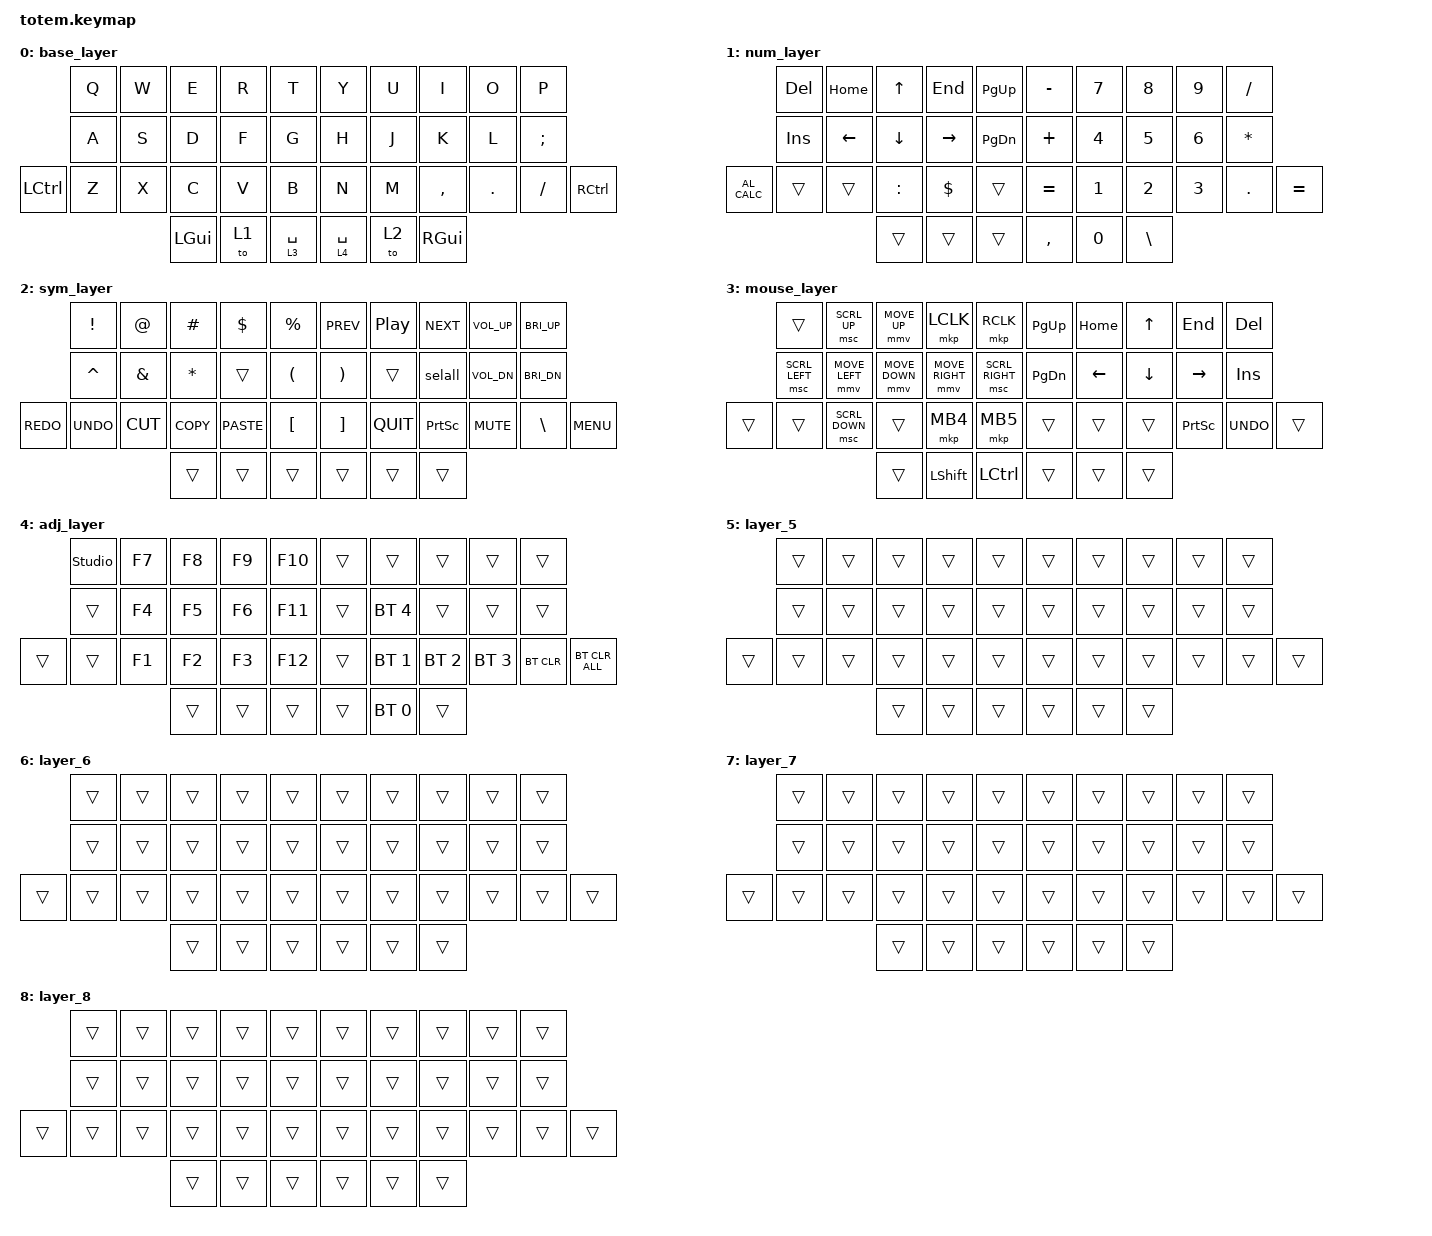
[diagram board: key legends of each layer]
#include <dt-bindings/zmk/mouse.h>
#include <behaviors.dtsi>
#include <dt-bindings/zmk/bt.h>
#include <dt-bindings/zmk/keys.h>
#include <dt-bindings/zmk/pointing.h>

#define BASE 0
#define CODE 1
#define NAV  2
#define MOD  3
#define ADJ  4

/ {
    behaviors {
        hml: homerow_mods_left {
            compatible = "zmk,behavior-hold-tap";
            #binding-cells = <2>;
            tapping-term-ms = <200>;
            quick-tap-ms = <175>;
            require-prior-idle-ms = <300>;
            flavor = "balanced";
            bindings = <&kp>, <&kp>;
        };

        hmr: homerow_mods_right {
            compatible = "zmk,behavior-hold-tap";
            #binding-cells = <2>;
            tapping-term-ms = <200>;
            quick-tap-ms = <175>;
            require-prior-idle-ms = <300>;
            flavor = "balanced";
            bindings = <&kp>, <&kp>;
        };

        td_bs_pipe: backslash_pipe {
            compatible = "zmk,behavior-hold-tap";
            #binding-cells = <2>;
            tapping-term-ms = <200>;
            flavor = "tap-preferred";
            bindings = <&kp>, <&kp>;
        };
    };

    combos {
        compatible = "zmk,combos";

        combo_esc {
            timeout-ms = <50>;
            key-positions = <0 1>;
            bindings = <&kp ESC>;
            layers = <0>;
        };

        LFTSHFT {
            bindings = <&kp LEFT_SHIFT>;
            key-positions = <20 10>;
        };

        RTSHFT {
            bindings = <&kp RIGHT_SHIFT>;
            key-positions = <31 19>;
        };

        etr {
            bindings = <&kp ENTER>;
            key-positions = <18 17 16>;
        };

        bksp {
            bindings = <&kp BACKSPACE>;
            key-positions = <9 8>;
        };

        tab {
            bindings = <&kp TAB>;
            key-positions = <13 12 11>;
        };

        layoutsw {
            bindings = <&tog 5>;
            key-positions = <5 15 26 36>;
        };

        lalt {
            bindings = <&kp LEFT_ALT>;
            key-positions = <34 33>;
        };

        ralt {
            bindings = <&kp RIGHT_ALT>;
            key-positions = <36 35>;
        };

        rbkp {
            bindings = <&kp BACKSPACE>;
            key-positions = <4 3>;
        };

        lboot {
            bindings = <&bootloader>;
            key-positions = <4 2 1 0>;
        };

        rboot {
            bindings = <&bootloader>;
            key-positions = <5 7 8 9>;
        };
    };

    macros {
        mac_lock: mac_lock_screen {
            compatible = "zmk,behavior-macro";
            #binding-cells = <0>;
            bindings =
                <&macro_press>,
                <&kp LGUI &kp LCTRL>,
                <&macro_pause_for_release>,
                <&macro_tap>,
                <&kp Q>,
                <&macro_release>,
                <&kp LGUI &kp LCTRL>;
        };

        win_lock: win_lock_screen {
            compatible = "zmk,behavior-macro";
            #binding-cells = <0>;
            bindings =
                <&macro_press>,
                <&kp LGUI>,
                <&macro_tap>,
                <&kp L>,
                <&macro_release>,
                <&kp LGUI>;
        };

        selall: selall {
            compatible = "zmk,behavior-macro";
            #binding-cells = <0>;
            bindings =
                <&macro_press>,
                <&kp RCTRL>,
                <&macro_tap>,
                <&kp A>,
                <&macro_release>,
                <&kp RCTRL>;

            label = "SELALL";
        };
    };

    keymap {
        compatible = "zmk,keymap";

        base_layer {
            bindings = <
           &kp Q  &kp W  &kp E         &kp R  &kp T          &kp Y        &kp U  &kp I          &kp O    &kp P
           &kp A  &kp S  &kp D         &kp F  &kp G          &kp H        &kp J  &kp K          &kp L    &kp SEMICOLON
&kp LCTRL  &kp Z  &kp X  &kp C         &kp V  &kp B          &kp N        &kp M  &kp COMMA      &kp DOT  &kp FSLH       &kp RCTRL
                         &kp LEFT_GUI  &to 1  &lt 3 SPACE    &lt 4 SPACE  &to 2  &kp RIGHT_GUI
            >;
        };

        num_layer {
            bindings = <
               &kp DEL  &kp HOME  &kp UP     &kp END     &kp PG_UP    &kp MINUS  &kp N7  &kp N8    &kp N9  &kp SLASH
               &kp INS  &kp LEFT  &kp DOWN   &kp RIGHT   &kp PG_DN    &kp PLUS   &kp N4  &kp N5    &kp N6  &kp ASTRK
&kp C_AL_CALC  &trans   &trans    &kp COLON  &kp DOLLAR  &trans       &kp EQUAL  &kp N1  &kp N2    &kp N3  &kp DOT    &kp EQUAL
                                  &trans     &trans      &trans       &kp COMMA  &kp N0  &kp BSLH
            >;
        };

        sym_layer {
            bindings = <
            &kp EXCLAMATION  &kp AT         &kp HASH      &kp DOLLAR   &kp PERCENT             &kp C_PREV             &kp C_PP    &kp C_NEXT  &kp C_VOL_UP  &kp C_BRI_UP
            &kp CARET        &kp AMPERSAND  &kp ASTERISK  &trans       &kp LEFT_PARENTHESIS    &kp RIGHT_PARENTHESIS  &trans      &selall     &kp C_VOL_DN  &kp C_BRI_DN
&kp K_REDO  &kp K_UNDO       &kp K_CUT      &kp K_COPY    &kp K_PASTE  &kp LEFT_BRACKET        &kp RIGHT_BRACKET      &kp C_QUIT  &kp PSCRN   &kp C_MUTE    &kp BACKSLASH  &kp C_MENU
                                            &trans        &trans       &trans                  &trans                 &trans      &trans
            >;
        };

        mouse_layer {
            bindings = <
        &trans          &msc SCRL_UP    &mmv MOVE_UP    &mkp LCLK        &mkp RCLK          &kp PG_UP  &kp HOME  &kp UP    &kp END    &kp DEL
        &msc SCRL_LEFT  &mmv MOVE_LEFT  &mmv MOVE_DOWN  &mmv MOVE_RIGHT  &msc SCRL_RIGHT    &kp PG_DN  &kp LEFT  &kp DOWN  &kp RIGHT  &kp INS
&trans  &trans          &msc SCRL_DOWN  &trans          &mkp MB4         &mkp MB5           &trans     &trans    &trans    &kp PSCRN  &kp K_UNDO  &trans
                                        &trans          &kp LSHFT        &kp LCTRL          &trans     &trans    &trans
            >;
        };

        adj_layer {
            bindings = <
        &studio_unlock  &kp F7  &kp F8  &kp F9  &kp F10    &trans  &trans        &trans        &trans        &trans
        &trans          &kp F4  &kp F5  &kp F6  &kp F11    &trans  &bt BT_SEL 4  &trans        &trans        &trans
&trans  &trans          &kp F1  &kp F2  &kp F3  &kp F12    &trans  &bt BT_SEL 1  &bt BT_SEL 2  &bt BT_SEL 3  &bt BT_CLR  &bt BT_CLR_ALL
                                &trans  &trans  &trans     &trans  &bt BT_SEL 0  &trans
            >;
        };

        layer_5 {
            bindings = <
        &trans  &trans  &trans  &trans  &trans    &trans  &trans  &trans  &trans  &trans
        &trans  &trans  &trans  &trans  &trans    &trans  &trans  &trans  &trans  &trans
&trans  &trans  &trans  &trans  &trans  &trans    &trans  &trans  &trans  &trans  &trans  &trans
                        &trans  &trans  &trans    &trans  &trans  &trans
            >;
        };

        layer_6 {
            bindings = <
        &trans  &trans  &trans  &trans  &trans    &trans  &trans  &trans  &trans  &trans
        &trans  &trans  &trans  &trans  &trans    &trans  &trans  &trans  &trans  &trans
&trans  &trans  &trans  &trans  &trans  &trans    &trans  &trans  &trans  &trans  &trans  &trans
                        &trans  &trans  &trans    &trans  &trans  &trans
            >;
        };

        layer_7 {
            bindings = <
        &trans  &trans  &trans  &trans  &trans    &trans  &trans  &trans  &trans  &trans
        &trans  &trans  &trans  &trans  &trans    &trans  &trans  &trans  &trans  &trans
&trans  &trans  &trans  &trans  &trans  &trans    &trans  &trans  &trans  &trans  &trans  &trans
                        &trans  &trans  &trans    &trans  &trans  &trans
            >;
        };

        layer_8 {
            bindings = <
        &trans  &trans  &trans  &trans  &trans    &trans  &trans  &trans  &trans  &trans
        &trans  &trans  &trans  &trans  &trans    &trans  &trans  &trans  &trans  &trans
&trans  &trans  &trans  &trans  &trans  &trans    &trans  &trans  &trans  &trans  &trans  &trans
                        &trans  &trans  &trans    &trans  &trans  &trans
            >;
        };
    };
};

&sk {
    release-after-ms = <2000>;
    quick-release;
};
